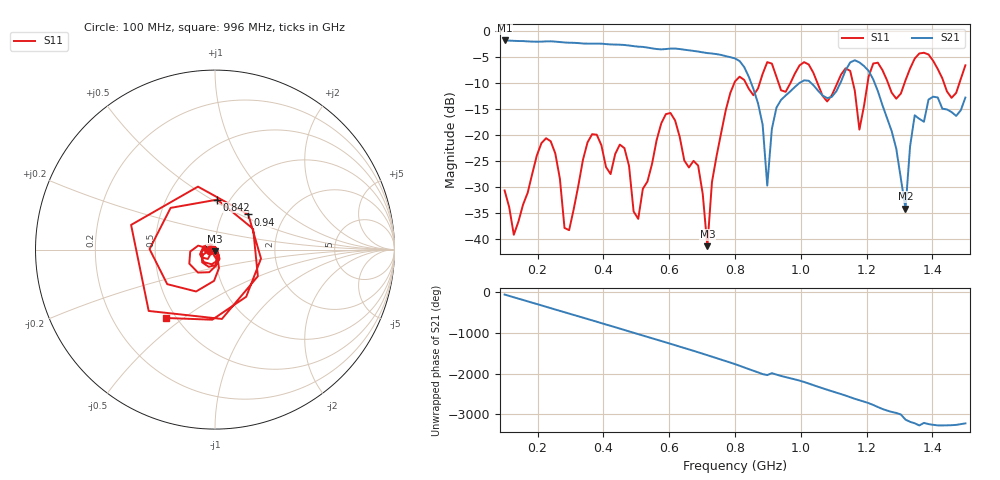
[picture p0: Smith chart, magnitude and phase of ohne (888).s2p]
! NanoVNA-App
! Date: 2025-09-25 14:27:43
! Start: 100MHz Stop: 1,5GHz Points: 101
! S-Parameter data: F S11 S21 S12 S22
# Hz S RI R 50
!  Frequency  S11_Real  S11_Imag  S21_Real  S21_Imag  S12_Real  S12_Imag  S22_Real  S22_Imag
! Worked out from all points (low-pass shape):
!   101 points, 100 MHz to 1.5 GHz, reference 50 ohm
!   highest |S21| = -1.79 dB at 100 MHz (marker M1); lowest = -34.1 dB at 1.318 GHz (marker M2)
!   |S21| within 3 dB of the highest: start of sweep to 771.2 MHz
!   lowest |S11| = -41.4 dB at 716 MHz (marker M3), VSWR 1.02, Z = 49.8 - j0.839 ohm
!   |S11| at or under -10 dB: start of sweep to 797.9 MHz; 833 MHz to 875.1 MHz (42.07 MHz wide, 4.93 % of centre); 1.051 GHz to 1.111 GHz (60.11 MHz wide, 5.56 % of centre) (the widest 3 of 7)
!   S12 and S22 are empty: the file has one direction only
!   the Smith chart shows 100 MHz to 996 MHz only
!   S11 on the Smith chart (normalised r, x): 100 MHz: 0.94, -0.01; 842 MHz: 0.88, +0.53; 940 MHz: 1.32, +0.56; 996 MHz: 0.44, -0.43
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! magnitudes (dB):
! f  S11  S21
! 100 MHz  -30.6  -1.8
! 128 MHz  -39.2  -1.9
! 226 MHz  -20.6  -2.0
! 296 MHz  -38.3  -2.2
! 338 MHz  -24.7  -2.4
! 464 MHz  -22.5  -2.7
! 506 MHz  -36.1  -3.0
! 576 MHz  -17.7  -3.5
! 688 MHz  -25.9  -3.9
! 716 MHz  -41.4  -4.2
! 800 MHz  -9.7  -5.2
! 842 MHz  -11.1  -8.8
! 898 MHz  -6.0  -29.7
! 940 MHz  -11.4  -13.2
! 996 MHz  -6.6  -10.0
! 1.038 GHz  -8.0  -10.4
! 1.178 GHz  -18.9  -6.0
! 1.22 GHz  -6.2  -9.3
! 1.276 GHz  -11.8  -19.2
! 1.318 GHz  -9.5  -34.1
! 1.346 GHz  -5.3  -16.2
! 1.5 GHz  -6.6  -12.8
